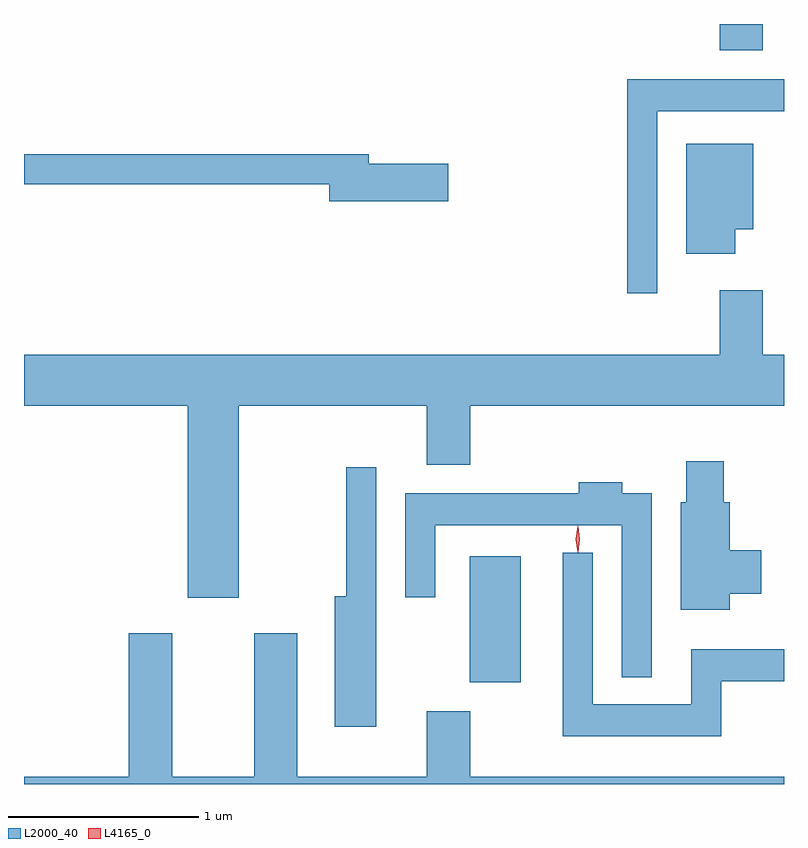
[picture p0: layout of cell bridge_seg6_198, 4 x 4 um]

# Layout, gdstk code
import gdstk
lib = gdstk.Library(unit=1e-6, precision=1e-09)
def R(c, l, rs):  # rectangles x0, y0, x1, y1
    for r in rs: c.add(gdstk.rectangle(r[:2], r[2:], *l))
def P(c, l, *ps):  # polygons
    for p in ps: c.add(gdstk.Polygon(p, *l))
L2000_40 = (2000, 40)
L4165_0 = (4165, 0)

bridge_seg6_198 = lib.new_cell('bridge_seg6_198')
R(bridge_seg6_198, L2000_40, [(1079.586,1581.881,1079.854,1582.544), (1080.901,1585.206,1081.129,1585.345)])
P(bridge_seg6_198, L2000_40, [(1080.574,1584.886),(1081.24,1584.886),(1081.24,1585.054),(1080.416,1585.054),(1080.416,1583.928),(1080.574,1583.928)],
  [(1080.984,1584.266),(1081.079,1584.266),(1081.079,1584.714),(1080.726,1584.714),(1080.726,1584.136),(1080.984,1584.136)],
  [(1079.474,1584.609),(1079.054,1584.609),(1079.054,1584.659),(1077.24,1584.659),(1077.24,1584.501),(1078.846,1584.501),(1078.846,1584.411),(1079.474,1584.411)],
  [(1078.369,1583.336),(1079.361,1583.336),(1079.361,1583.026),(1079.589,1583.026),(1079.589,1583.336),(1081.24,1583.336),(1081.24,1583.604),(1081.129,1583.604),(1081.129,1583.944),(1080.901,1583.944),(1080.901,1583.604),(1077.24,1583.604),(1077.24,1583.336),(1078.101,1583.336),(1078.101,1582.326),(1078.369,1582.326)],
  [(1080.954,1582.346),(1081.119,1582.346),(1081.119,1582.574),(1080.954,1582.574),(1080.954,1582.829),(1080.924,1582.829),(1080.924,1583.044),(1080.726,1583.044),(1080.726,1582.829),(1080.696,1582.829),(1080.696,1582.261),(1080.954,1582.261)],
  [(1079.094,1583.013),(1078.936,1583.013),(1078.936,1582.334),(1078.876,1582.334),(1078.876,1581.646),(1079.094,1581.646)],
  [(1080.544,1582.874),(1080.389,1582.874),(1080.389,1582.934),(1080.161,1582.934),(1080.161,1582.874),(1079.246,1582.874),(1079.246,1582.328),(1079.404,1582.328),(1079.404,1582.706),(1080.386,1582.706),(1080.386,1581.908),(1080.544,1581.908)],
  [(1080.909,1581.886),(1081.24,1581.886),(1081.24,1582.054),(1080.751,1582.054),(1080.751,1581.764),(1080.234,1581.764),(1080.234,1582.563),(1080.076,1582.563),(1080.076,1581.596),(1080.909,1581.596)],
  [(1081.24,1581.384),(1079.589,1581.384),(1079.589,1581.729),(1079.361,1581.729),(1079.361,1581.384),(1078.679,1581.384),(1078.679,1582.139),(1078.451,1582.139),(1078.451,1581.384),(1078.019,1581.384),(1078.019,1582.139),(1077.791,1582.139),(1077.791,1581.384),(1077.24,1581.384),(1077.24,1581.345),(1081.24,1581.345)])
P(bridge_seg6_198, L4165_0, [(1080.154,1582.567),(1080.154,1582.568),(1080.144,1582.634),(1080.154,1582.7),(1080.154,1582.701),(1080.154,1582.7),(1080.164,1582.634),(1080.154,1582.568)],
  [(1080.154,1582.564),(1080.145,1582.634),(1080.154,1582.702),(1080.155,1582.703),(1080.156,1582.702),(1080.165,1582.634),(1080.156,1582.564),(1080.155,1582.564)])

lib.write_gds('bridge_seg6_198.gds')
